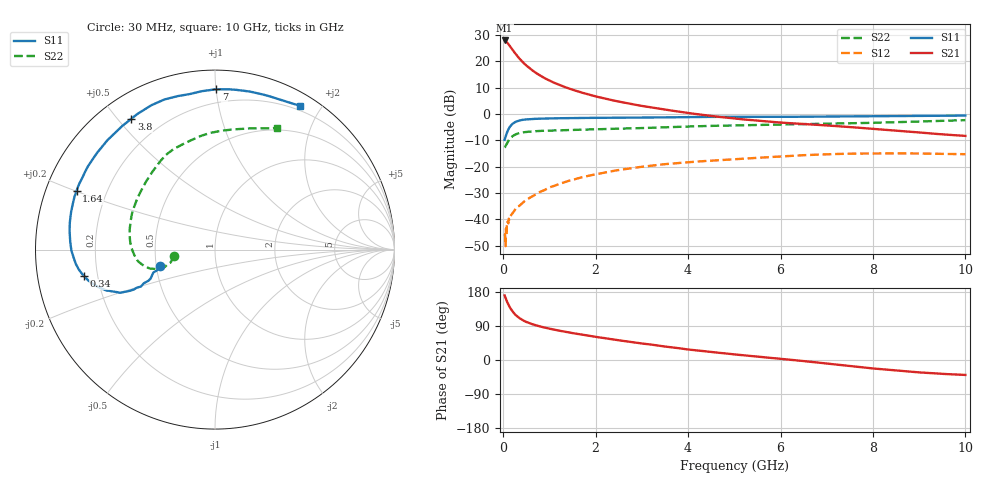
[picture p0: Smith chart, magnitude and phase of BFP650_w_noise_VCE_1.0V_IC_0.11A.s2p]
! Infineon Technologies  Discrete & RF Semiconductors
! BFP650
! VCE =  1.0 V,  IC = 0.11 A
! Common Emitter S-Parameters:  Jan 2016
# GHz  S  MA  R  50
!  f  S11  S21  S12  S22
! GHz  MAG  ANG  MAG  ANG  MAG  ANG  MAG  ANG
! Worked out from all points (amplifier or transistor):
!   229 points, 30 MHz to 10 GHz, reference 50 ohm
!   highest |S21| = 27.9 dB at 30 MHz (marker M1)
!   |S21| within 3 dB of that: start of sweep to 179.3 MHz
!   unconditionally stable (mu >= 1): start of sweep to end of sweep
!   at 280 MHz: K = 1.29, MAG = 25.9 dB, |S12| = -35.8 dB
!   at 1.78 GHz: K = 1.19, MAG = 13.1 dB, |S12| = -23.7 dB
!   at 10 GHz: K = 1.15, MAG = 1.1 dB, |S12| = -15.3 dB
!   lowest NFmin = 1.51 dB at 450 MHz
!   S11 on the Smith chart (normalised r, x): 30 MHz: 0.52, -0.11; 340 MHz: 0.15, -0.10; 1.64 GHz: 0.09, +0.20; 3.8 GHz: 0.09, +0.54; 7 GHz: 0.11, +1.00; 10 GHz: 0.14, +1.74
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0.03  0.3221 -163.6  24.75 170.2  0.0052 28.6  0.2313 -171.6
0.05  0.3668 -159.6  23.8 163.9  0.0031 11.8  0.2442 -167.3
0.08  0.4384 -154.7  22.73 154.5  0.0085 21.2  0.2771 -162.7
0.11  0.505 -153.8  21.2 146.5  0.0084 54.1  0.3069 -160.5
0.145  0.5715 -155.3  19.29 138.5  0.0108 55.9  0.338 -161.3
0.2  0.6485 -159.5  16.55 128.1  0.013 53.2  0.3773 -163.8
0.24  0.6853 -162.4  14.83 122.4  0.0145 56.5  0.3972 -165.9
0.3  0.7268 -166.3  12.69 115.2  0.0173 54.0  0.4195 -169.2
0.34  0.745 -168.6  11.51 111.5  0.0179 57.5  0.4315 -171.1
0.4  0.7669 -171.7  10.06 106.6  0.0198 57.1  0.4427 -173.8
0.5  0.7871 -176.2  8.28 100.4  0.0233 58.7  0.4551 -177.6
0.7  0.8071 177.3  6.048 91.7  0.0297 60.4  0.4707 176.5
1.1  0.825 167.8  3.905 80.2  0.0431 59.1  0.4875 167.3
1.64  0.8381 157.0  2.632 68.1  0.0608 55.0  0.5026 157.4
1.7  0.8392 155.9  2.538 66.9  0.0628 54.6  0.5045 156.4
3.4  0.8585 128.4  1.245 37.3  0.109 35.3  0.5531 129.9
3.8  0.8652 122.6  1.104 31.1  0.1175 30.4  0.5685 124.8
5.1  0.8816 107.6  0.803 13.7  0.14 17.6  0.607 111.3
6.8  0.8895 91.7  0.62 -6.7  0.1691 0.3  0.6458 93.9
7  0.8935 89.6  0.605 -9.4  0.1722 -2.0  0.6508 92.2
8.4  0.9046 72.7  0.49 -26.7  0.1785 -17.4  0.6927 76.5
10  0.9319 59.4  0.383 -39.4  0.1723 -29.2  0.7619 63.0
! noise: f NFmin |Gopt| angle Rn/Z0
0.45  1.51  0.58  -171  0.06
0.9  1.53  0.59  -164  0.07
1.9  1.69  0.61  -149  0.1
2.4  1.78  0.59  -141  0.14
3.5  1.97  0.6  -118  0.26
